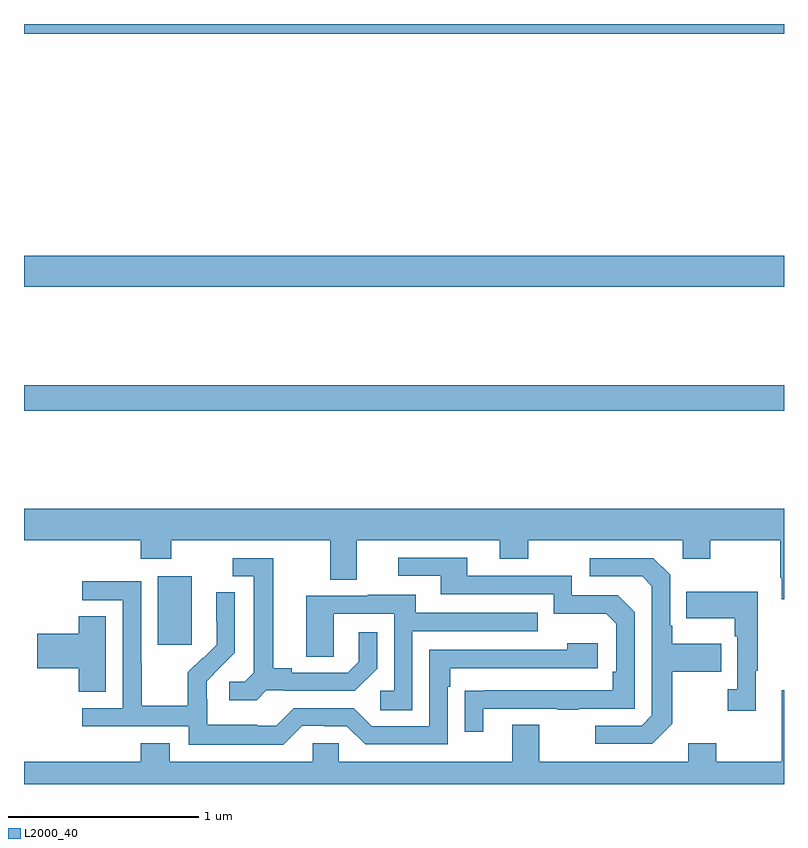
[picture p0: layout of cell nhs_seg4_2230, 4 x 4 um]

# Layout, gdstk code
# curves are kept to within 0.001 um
import gdstk
lib = gdstk.Library(unit=1e-6, precision=1e-09)
def R(c, l, rs):  # rectangles x0, y0, x1, y1
    for r in rs: c.add(gdstk.rectangle(r[:2], r[2:], *l))
def P(c, l, *ps):  # polygons
    for p in ps: c.add(gdstk.Polygon(p, *l))
L2000_40 = (2000, 40)

nhs_seg4_2230 = lib.new_cell('nhs_seg4_2230')
R(nhs_seg4_2230, L2000_40, [(227.705,765.633,227.884,765.994), (227,766.864,231,767), (227,767.516,231,767.68), (227,768.848,231,768.9)])
P(nhs_seg4_2230, L2000_40, [(227,766.184),(227.615,766.184),(227.615,766.085),(227.775,766.085),(227.775,766.184),(228.611,766.184),(228.611,765.976),(228.751,765.976),(228.751,766.184),(229.505,766.184),(229.505,766.085),(229.653,766.085),(229.653,766.184),(230.466,766.184),(230.466,766.085),(230.613,766.085),(230.613,766.184),(230.98,766.184),(230.98,765.985),(230.987,765.985),(230.987,765.873),(231,765.873),(231,766.348),(227,766.348)],
  [(229.417,765.297),(229.807,765.297),(229.807,765.292),(229.919,765.292),(229.919,765.297),(230.214,765.297),(230.214,765.804),(230.124,765.894),(229.884,765.894),(229.884,765.996),(229.333,765.996),(229.333,766.092),(228.969,766.092),(228.969,765.996),(229.193,765.996),(229.193,765.9),(229.788,765.9),(229.788,765.797),(230.065,765.797),(230.118,765.744),(230.118,765.49),(230.098,765.49),(230.098,765.393),(229.321,765.392),(229.321,765.174),(229.417,765.174)],
  [(228.276,765.393),(228.37,765.393),(228.37,765.39),(228.742,765.39),(228.858,765.506),(228.858,765.7),(228.761,765.7),(228.761,765.543),(228.704,765.486),(228.409,765.486),(228.409,765.509),(228.313,765.509),(228.313,766.089),(228.099,766.089),(228.099,765.993),(228.209,765.993),(228.209,765.485),(228.162,765.438),(228.081,765.438),(228.081,765.341),(228.224,765.341)],
  [(230.413,765.217),(230.413,765.49),(230.669,765.49),(230.669,765.637),(230.413,765.637),(230.413,765.733),(230.4,765.733),(230.4,766.002),(230.313,766.089),(229.977,766.089),(229.977,765.993),(230.253,765.993),(230.304,765.942),(230.304,765.261),(230.25,765.207),(230.007,765.207),(230.007,765.111),(230.307,765.111)],
  [(228.465,765.207),(228.581,765.207),(228.581,765.204),(228.699,765.204),(228.795,765.108),(229.23,765.108),(229.23,765.413),(229.243,765.413),(229.243,765.51),(230.02,765.51),(230.02,765.64),(229.859,765.64),(229.859,765.606),(229.134,765.606),(229.134,765.204),(228.831,765.204),(228.735,765.3),(228.42,765.3),(228.327,765.207),(228.227,765.207),(228.227,765.211),(227.964,765.211),(227.964,765.345),(227.962,765.345),(227.962,765.442),(228.108,765.59),(228.108,765.908),(228.012,765.908),(228.012,765.754),(228.014,765.754),(228.014,765.632),(227.943,765.561),(227.94,765.564),(227.863,765.487),(227.863,765.313),(227.619,765.313),(227.619,765.536),(227.616,765.536),(227.616,765.966),(227.307,765.966),(227.307,765.867),(227.52,765.867),(227.52,765.3),(227.307,765.3),(227.307,765.204),(227.868,765.204),(227.868,765.107),(228.365,765.107)],
  [(230.851,765.497),(230.863,765.497),(230.863,765.913),(230.485,765.913),(230.485,765.773),(230.742,765.773),(230.742,765.677),(230.754,765.677),(230.754,765.398),(230.703,765.398),(230.703,765.285),(230.851,765.285)],
  [(229.044,765.705),(229.703,765.705),(229.703,765.801),(229.063,765.801),(229.063,765.895),(228.809,765.895),(228.809,765.891),(228.485,765.891),(228.485,765.571),(228.63,765.571),(228.63,765.795),(228.948,765.795),(228.948,765.39),(228.876,765.39),(228.876,765.289),(229.044,765.289)],
  [(227.431,765.782),(227.288,765.782),(227.288,765.692),(227.07,765.692),(227.07,765.509),(227.288,765.509),(227.288,765.385),(227.431,765.385)],
  [(231,765.394),(230.987,765.394),(230.987,765.016),(230.643,765.016),(230.643,765.115),(230.495,765.115),(230.495,765.016),(229.711,765.016),(229.711,765.211),(229.571,765.211),(229.571,765.016),(228.657,765.016),(228.657,765.114),(228.519,765.114),(228.519,765.016),(227.767,765.016),(227.767,765.115),(227.615,765.115),(227.615,765.016),(227,765.016),(227,764.9),(231,764.9)])

lib.write_gds('nhs_seg4_2230.gds')
